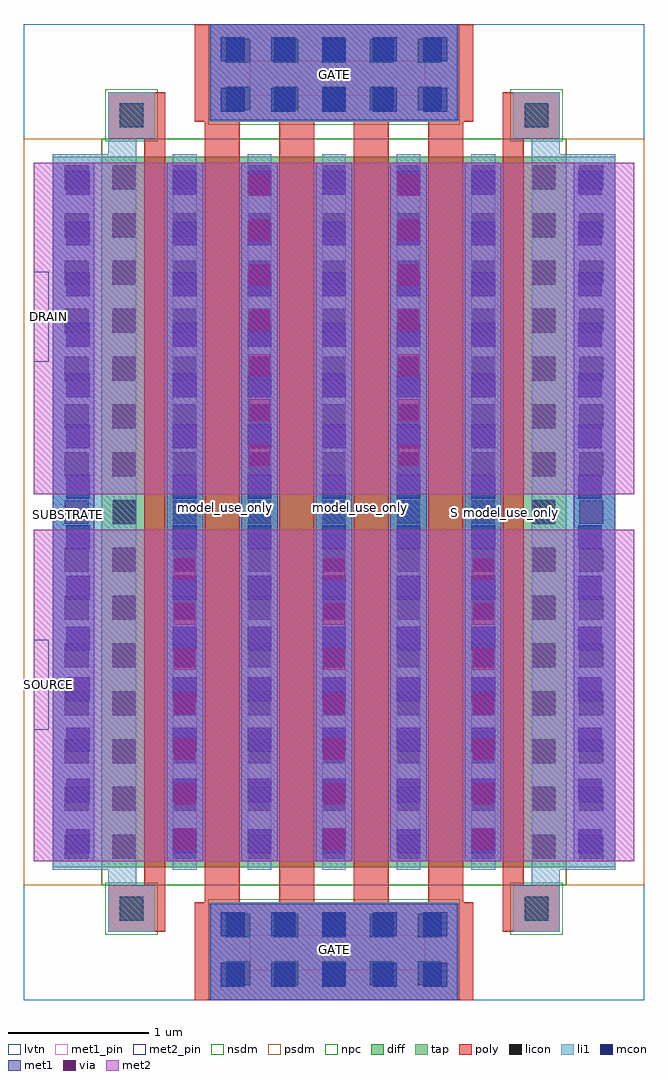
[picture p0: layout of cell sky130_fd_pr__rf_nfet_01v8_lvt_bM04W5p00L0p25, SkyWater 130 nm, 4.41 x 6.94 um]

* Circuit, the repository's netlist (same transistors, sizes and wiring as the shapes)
* Copyright 2020 The SkyWater PDK Authors
*
* Licensed under the Apache License, Version 2.0 (the "License");
* you may not use this file except in compliance with the License.
* You may obtain a copy of the License at
*
*     https://www.apache.org/licenses/LICENSE-2.0
*
* Unless required by applicable law or agreed to in writing, software
* distributed under the License is distributed on an "AS IS" BASIS,
* WITHOUT WARRANTIES OR CONDITIONS OF ANY KIND, either express or implied.
* See the License for the specific language governing permissions and
* limitations under the License.
*
* SPDX-License-Identifier: Apache-2.0


.subckt sky130_fd_pr__rf_nfet_01v8_lvt_bM04W5p00L0p25 DRAIN GATE SOURCE SUBSTRATE
X0 SUBSTRATE SUBSTRATE SOURCE SUBSTRATE sky130_fd_pr__nfet_01v8_lvt w=5.05e+06u l=150000u
X1 SOURCE SUBSTRATE SUBSTRATE SUBSTRATE sky130_fd_pr__nfet_01v8_lvt w=5.05e+06u l=150000u
X2 DRAIN GATE SOURCE SUBSTRATE sky130_fd_pr__nfet_01v8_lvt w=5.05e+06u l=250000u
X3 SOURCE GATE DRAIN SUBSTRATE sky130_fd_pr__nfet_01v8_lvt w=5.05e+06u l=250000u
X4 DRAIN GATE SOURCE SUBSTRATE sky130_fd_pr__nfet_01v8_lvt w=5.05e+06u l=250000u
X5 SOURCE GATE DRAIN SUBSTRATE sky130_fd_pr__nfet_01v8_lvt w=5.05e+06u l=250000u
.ends

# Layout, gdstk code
import gdstk
lib = gdstk.Library(unit=1e-6, precision=1e-09)
def R(c, l, rs):  # rectangles x0, y0, x1, y1
    for r in rs: c.add(gdstk.rectangle(r[:2], r[2:], *l))
def A(c, l, x, y, w, h, nx, ny, dx, dy):  # array of equal rectangles
    R(c, l, [(x+i*dx, y+j*dy, x+i*dx+w, y+j*dy+h) for i in range(nx) for j in range(ny)])
diff = (65, 20)
tap = (65, 44)
poly = (66, 20)
licon = (66, 44)
li1 = (67, 20)
mcon = (67, 44)
met1_pin = (68, 16)
met1 = (68, 20)
via = (68, 44)
met2_pin = (69, 16)
met2 = (69, 20)
nsdm = (93, 44)
psdm = (94, 20)
npc = (95, 20)
lvtn = (125, 44)

sky130_fd_pr__rf_nfet_01 = lib.new_cell('sky130_fd_pr__rf_nfet_01v8_lvt_bM04W5p00L0p25')
R(sky130_fd_pr__rf_nfet_01, diff, [(0.555,0.945,3.855,5.995)])
R(sky130_fd_pr__rf_nfet_01, tap, [(0.205,0.945,0.555,5.995), (3.855,0.945,4.205,5.995)])
A(sky130_fd_pr__rf_nfet_01, poly, 1.285, 0.695, 0.25, 5.55, 4, 1, 0.53, 0)
R(sky130_fd_pr__rf_nfet_01, poly, [(1.215,0,3.195,0.695), (0.6,0.485,0.93,0.815), (0.855,0.485,1.005,6.455), (3.405,0.485,3.555,6.455), (3.48,0.485,3.81,0.815), (0.6,6.125,0.93,6.455), (3.48,6.125,3.81,6.455), (1.215,6.245,3.195,6.94)])
A(sky130_fd_pr__rf_nfet_01, licon, 1.44, 0.105, 0.17, 0.17, 5, 2, 0.34, 0.34)
A(sky130_fd_pr__rf_nfet_01, licon, 0.29, 1.005, 0.17, 0.17, 1, 15, 0, 0.34)
A(sky130_fd_pr__rf_nfet_01, licon, 0.63, 1.005, 0.17, 0.17, 1, 15, 0, 0.34)
A(sky130_fd_pr__rf_nfet_01, licon, 1.06, 1.005, 0.17, 0.17, 5, 15, 0.53, 0.34)
A(sky130_fd_pr__rf_nfet_01, licon, 3.61, 1.005, 0.17, 0.17, 1, 15, 0, 0.34)
A(sky130_fd_pr__rf_nfet_01, licon, 3.95, 1.005, 0.17, 0.17, 1, 15, 0, 0.34)
A(sky130_fd_pr__rf_nfet_01, licon, 1.44, 6.325, 0.17, 0.17, 5, 2, 0.34, 0.34)
R(sky130_fd_pr__rf_nfet_01, licon, [(0.68,0.565,0.85,0.735), (3.56,0.565,3.73,0.735), (0.68,6.205,0.85,6.375), (3.56,6.205,3.73,6.375)])
A(sky130_fd_pr__rf_nfet_01, li1, 1.06, 0.925, 0.17, 5.09, 5, 1, 0.53, 0)
A(sky130_fd_pr__rf_nfet_01, li1, 1.06, 2.125, 0.17, 2.69, 5, 1, 0.53, 0)
R(sky130_fd_pr__rf_nfet_01, li1, [(1.33,0,3.08,0.695), (0.6,0.485,0.93,0.815), (3.48,0.485,3.81,0.815), (0.6,0.815,0.8,0.925), (3.61,0.815,3.81,0.925), (0.205,0.925,0.8,6.015), (3.61,0.925,4.205,6.015), (0.32,1.045,0.49,5.895), (3.92,1.045,4.09,5.895), (0.6,6.015,0.8,6.125), (3.61,6.015,3.81,6.125), (0.6,6.125,0.93,6.455), (3.48,6.125,3.81,6.455), (1.33,6.245,3.08,6.94)])
A(sky130_fd_pr__rf_nfet_01, mcon, 1.4, 0.095, 0.17, 0.17, 5, 2, 0.36, 0.36)
A(sky130_fd_pr__rf_nfet_01, mcon, 0.3, 1.045, 0.17, 0.17, 1, 14, 0, 0.36)
A(sky130_fd_pr__rf_nfet_01, mcon, 1.06, 1.045, 0.17, 0.17, 5, 14, 0.53, 0.36)
A(sky130_fd_pr__rf_nfet_01, mcon, 3.94, 1.045, 0.17, 0.17, 1, 14, 0, 0.36)
A(sky130_fd_pr__rf_nfet_01, mcon, 1.4, 6.315, 0.17, 0.17, 5, 2, 0.36, 0.36)
R(sky130_fd_pr__rf_nfet_01, met1_pin, [(1.605,0.21,2.855,0.46), (0.205,3.375,0.5,3.525), (3.91,3.415,4.205,3.565), (1.605,6.43,2.855,6.68)])
A(sky130_fd_pr__rf_nfet_01, met1, 1.015, 0.985, 0.26, 2.24, 3, 1, 1.06, 0)
A(sky130_fd_pr__rf_nfet_01, met1, 1.015, 0.985, 0.26, 4.97, 5, 1, 0.53, 0)
R(sky130_fd_pr__rf_nfet_01, met1, [(1.32,0,3.09,0.685), (0.205,0.985,0.5,5.955), (3.91,0.985,4.205,5.955), (1.545,3.715,1.805,5.955), (2.605,3.715,2.865,5.955), (1.32,6.255,3.09,6.94)])
A(sky130_fd_pr__rf_nfet_01, via, 1.07, 1.07, 0.15, 0.15, 3, 7, 1.06, 0.32)
A(sky130_fd_pr__rf_nfet_01, via, 1.6, 3.8, 0.15, 0.15, 1, 7, 0, 0.32)
A(sky130_fd_pr__rf_nfet_01, via, 2.66, 3.8, 0.15, 0.15, 1, 7, 0, 0.32)
R(sky130_fd_pr__rf_nfet_01, met2_pin, [(0.07,1.92,0.175,2.56), (0.07,4.54,0.175,5.18)])
A(sky130_fd_pr__rf_nfet_01, met2, 1.015, 0.985, 0.26, 2.24, 3, 1, 1.06, 0)
R(sky130_fd_pr__rf_nfet_01, met2, [(0.07,0.985,4.34,3.345), (0.07,3.595,4.34,5.955), (1.545,3.715,1.805,5.955), (2.605,3.715,2.865,5.955)])
R(sky130_fd_pr__rf_nfet_01, nsdm, [(0.555,0.815,3.855,6.125)])
R(sky130_fd_pr__rf_nfet_01, psdm, [(0,0.815,0.555,6.125), (3.855,0.815,4.41,6.125)])
R(sky130_fd_pr__rf_nfet_01, npc, [(1.31,0,3.1,0.715), (0.58,0.465,0.95,0.835), (3.46,0.465,3.83,0.835), (0.58,6.105,0.95,6.475), (3.46,6.105,3.83,6.475), (1.31,6.225,3.1,6.94)])
R(sky130_fd_pr__rf_nfet_01, lvtn, [(0,0,4.41,6.94)])
sky130_fd_pr__rf_nfet_01.add(gdstk.Label('GATE', (2.205,0.36), layer=68, texttype=5))
sky130_fd_pr__rf_nfet_01.add(gdstk.Label('GATE', (2.205,6.58), layer=68, texttype=5))
sky130_fd_pr__rf_nfet_01.add(gdstk.Label('model_use_only', (1.435,3.505), layer=66, texttype=83))
sky130_fd_pr__rf_nfet_01.add(gdstk.Label('model_use_only', (1.965,3.505), layer=66, texttype=83))
sky130_fd_pr__rf_nfet_01.add(gdstk.Label('model_use_only', (2.395,3.505), layer=66, texttype=83))
sky130_fd_pr__rf_nfet_01.add(gdstk.Label('model_use_only', (2.925,3.505), layer=66, texttype=83))
sky130_fd_pr__rf_nfet_01.add(gdstk.Label('model_use_only', (3.47,3.47), layer=66, texttype=83))
sky130_fd_pr__rf_nfet_01.add(gdstk.Label('model_use_only', (0.915,3.47), layer=66, texttype=83))
sky130_fd_pr__rf_nfet_01.add(gdstk.Label('SUBSTRATE', (0.315,3.455), layer=68, texttype=16))
sky130_fd_pr__rf_nfet_01.add(gdstk.Label('SUBSTRATE', (4.02,3.495), layer=68, texttype=16))
sky130_fd_pr__rf_nfet_01.add(gdstk.Label('dummy_poly', (3.47,3.505), layer=83, texttype=44))
sky130_fd_pr__rf_nfet_01.add(gdstk.Label('dummy_poly', (0.92,3.505), layer=83, texttype=44))
sky130_fd_pr__rf_nfet_01.add(gdstk.Label('D', (1.775,3.47), layer=83, texttype=44))
sky130_fd_pr__rf_nfet_01.add(gdstk.Label('S', (1.345,3.47), layer=83, texttype=44))
sky130_fd_pr__rf_nfet_01.add(gdstk.Label('S', (2.635,3.47), layer=83, texttype=44))
sky130_fd_pr__rf_nfet_01.add(gdstk.Label('S', (2.205,3.47), layer=83, texttype=44))
sky130_fd_pr__rf_nfet_01.add(gdstk.Label('S', (1.775,3.47), layer=83, texttype=44))
sky130_fd_pr__rf_nfet_01.add(gdstk.Label('S', (1.345,3.47), layer=83, texttype=44))
sky130_fd_pr__rf_nfet_01.add(gdstk.Label('S', (3.065,3.47), layer=83, texttype=44))
sky130_fd_pr__rf_nfet_01.add(gdstk.Label('D', (2.635,3.47), layer=83, texttype=44))
sky130_fd_pr__rf_nfet_01.add(gdstk.Label('S', (2.205,3.47), layer=83, texttype=44))
sky130_fd_pr__rf_nfet_01.add(gdstk.Label('SOURCE', (0.175,2.24), layer=69, texttype=5))
sky130_fd_pr__rf_nfet_01.add(gdstk.Label('DRAIN', (0.175,4.86), layer=69, texttype=5))

lib.write_gds('sky130_fd_pr__rf_nfet_01v8_lvt_bM04W5p00L0p25.gds')
